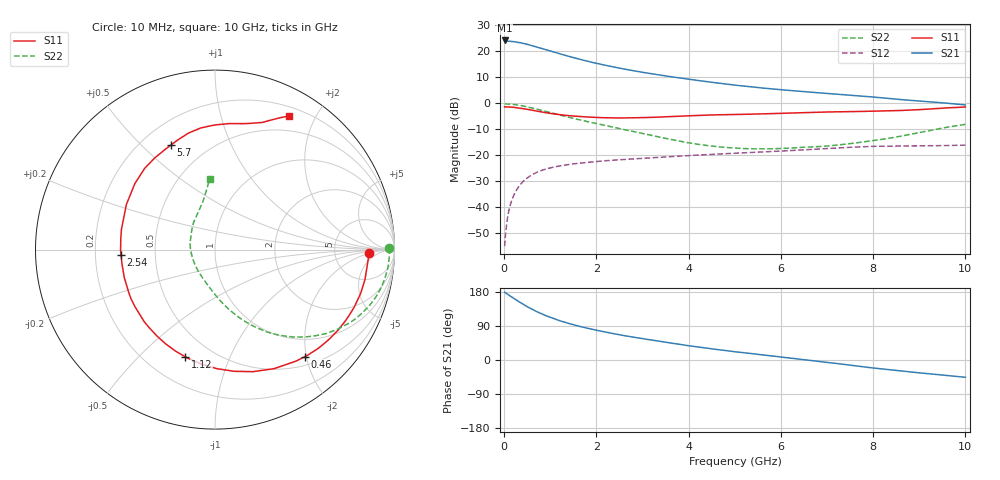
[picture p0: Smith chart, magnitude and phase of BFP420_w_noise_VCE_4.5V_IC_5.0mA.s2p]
! Infineon Technologies  Discrete & RF Semiconductors
! BFP420
! VCE =  4.5 V,  IC =  5.0 mA
! Common Emitter S-Parameters:  Jan 2016
# GHz  S  MA  R  50
!  f  S11  S21  S12  S22
! GHz  MAG  ANG  MAG  ANG  MAG  ANG  MAG  ANG
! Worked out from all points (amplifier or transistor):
!   233 points, 10 MHz to 10 GHz, reference 50 ohm
!   highest |S21| = 24.2 dB at 10 MHz (marker M1)
!   |S21| within 3 dB of that: start of sweep to 803 MHz
!   unconditionally stable (mu >= 1): start of sweep to 12.81 MHz; 3.03 GHz to end of sweep
!   at 200 MHz: K = 0.18, MSG = 29.7 dB, |S12| = -35.7 dB
!   at 1.74 GHz: K = 0.60, MSG = 19.6 dB, |S12| = -22.8 dB
!   at 10 GHz: K = 1.13, MAG = 5.6 dB, |S12| = -16.1 dB
!   lowest NFmin = 0.66 dB at 900 MHz
!   S11 on the Smith chart (normalised r, x): 10 MHz: 13, -2; 460 MHz: 0.65, -1.97; 1.12 GHz: 0.36, -0.70; 2.54 GHz: 0.31, -0.03; 5.7 GHz: 0.32, +0.61; 10 GHz: 0.31, +1.65
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0.01  0.8558 -1.4  16.16 178.9  0.0018 19.5  0.9687 0.4
0.02  0.8574 -2.2  15.7 178.1  0.0025 41.9  0.9718 -1.1
0.1  0.8521 -11.3  15.68 171.4  0.0085 72.3  0.9686 -6.1
0.15  0.8473 -16.8  15.55 167.3  0.0125 73.3  0.9619 -9.1
0.26  0.8274 -28.9  15.07 158.3  0.0209 70.5  0.9379 -15.6
0.38  0.8 -41.7  14.43 149.3  0.0294 65.7  0.9005 -22.1
0.46  0.7788 -50.0  13.91 143.5  0.0346 62.5  0.8716 -26.3
0.6  0.7405 -63.6  12.93 134.0  0.0423 56.9  0.8164 -32.8
0.7  0.7124 -72.7  12.2 128.0  0.047 53.4  0.7757 -37.1
0.9  0.6629 -89.3  10.78 117.2  0.0545 47.5  0.6983 -44.2
1.12  0.6198 -105.5  9.42 107.2  0.0608 42.4  0.6219 -50.8
1.4  0.5809 -123.5  7.994 96.4  0.0668 37.5  0.5394 -58.0
1.68  0.5543 -138.9  6.883 87.4  0.0716 33.8  0.472 -63.8
2.02  0.5348 -154.9  5.824 78.1  0.0765 30.5  0.4057 -69.9
2.54  0.5247 -176.6  4.675 65.7  0.0827 26.4  0.322 -79.3
3.4  0.547 155.9  3.468 48.8  0.0922 21.6  0.2216 -96.1
4  0.5783 140.6  2.909 37.6  0.0991 18.6  0.1742 -112.6
5.1  0.6131 121.8  2.192 20.5  0.111 12.9  0.1366 -148.1
5.7  0.6313 113.1  1.933 12.2  0.1175 10.0  0.1332 -168.7
6.8  0.6747 99.2  1.601 -3.4  0.1324 3.8  0.1474 158.0
8.4  0.7187 77.5  1.226 -26.4  0.1504 -9.9  0.2174 117.5
10  0.8502 61.1  0.931 -45.6  0.1572 -19.7  0.3945 94.3
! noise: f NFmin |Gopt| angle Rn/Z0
0.9  0.66  0.21  31  0.15
1.8  1.05  0.09  93  0.13
2.4  1.14  0.14  119  0.13
3  1.24  0.17  165  0.11
4  1.41  0.31  -145  0.12
5  1.85  0.38  -119  0.21
6  2.3  0.45  -101  0.36
